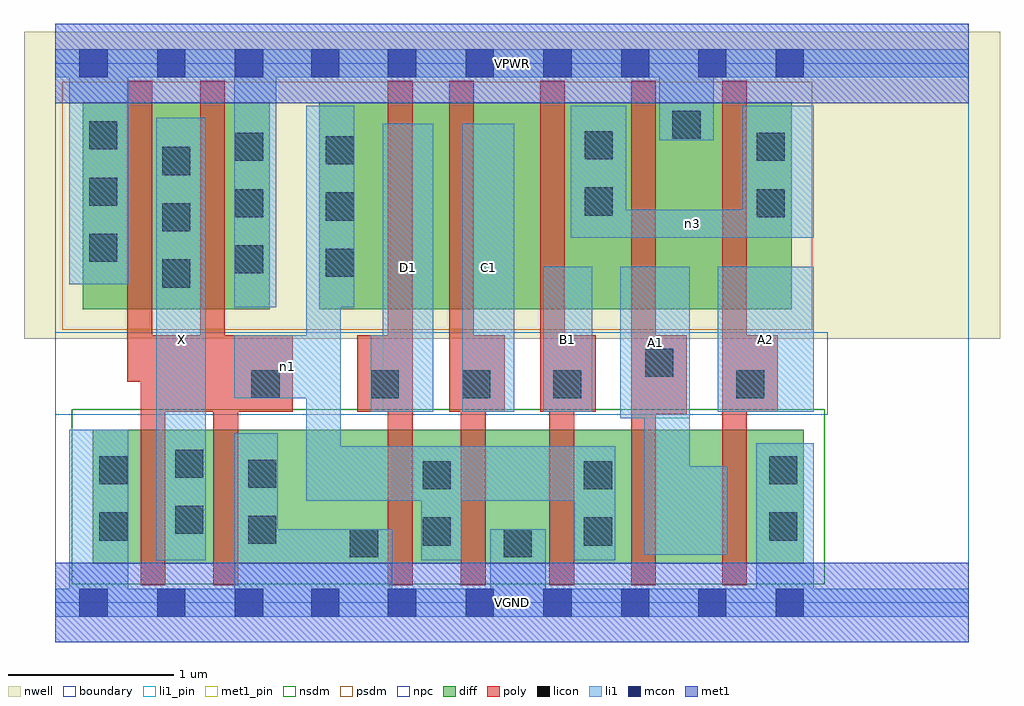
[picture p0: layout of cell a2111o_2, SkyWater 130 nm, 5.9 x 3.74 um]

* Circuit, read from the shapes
.subckt a2111o_2 A1 A2 B1 C1 D1 VGND VPWR X n1 n3
XM1 X n1 VGND VSUBS sky130_fd_pr__nfet_01v8 w=0.81 l=0.15 m=2
XM2 n1 D1 VGND VSUBS sky130_fd_pr__nfet_01v8 w=0.81 l=0.15
XM3 VGND C1 n1 VSUBS sky130_fd_pr__nfet_01v8 w=0.81 l=0.15
XM4 n1 B1 VGND VSUBS sky130_fd_pr__nfet_01v8 w=0.81 l=0.15
XM5 n2 A1 n1 VSUBS sky130_fd_pr__nfet_01v8 w=0.81 l=0.15
XM6 VGND A2 n2 VSUBS sky130_fd_pr__nfet_01v8 w=0.81 l=0.15
XM7 X n1 VPWR n4 sky130_fd_pr__pfet_01v8 w=1.25 l=0.15 m=2
XM8 n5 D1 n1 n4 sky130_fd_pr__pfet_01v8 w=1.25 l=0.15
XM9 n6 C1 n5 n4 sky130_fd_pr__pfet_01v8 w=1.25 l=0.15
XM10 n3 B1 n6 n4 sky130_fd_pr__pfet_01v8 w=1.25 l=0.15
XM11 VPWR A1 n3 n4 sky130_fd_pr__pfet_01v8 w=1.25 l=0.15
XM12 n3 A2 VPWR n4 sky130_fd_pr__pfet_01v8 w=1.25 l=0.15
.ends

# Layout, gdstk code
import gdstk
lib = gdstk.Library(unit=1e-6, precision=1e-09)
def R(c, l, rs):  # rectangles x0, y0, x1, y1
    for r in rs: c.add(gdstk.rectangle(r[:2], r[2:], *l))
def A(c, l, x, y, w, h, nx, ny, dx, dy):  # array of equal rectangles
    R(c, l, [(x+i*dx, y+j*dy, x+i*dx+w, y+j*dy+h) for i in range(nx) for j in range(ny)])
nwell = (64, 20)
diff = (65, 20)
poly = (66, 20)
licon = (66, 44)
li1_pin = (67, 16)
li1 = (67, 20)
mcon = (67, 44)
met1_pin = (68, 16)
met1 = (68, 20)
nsdm = (93, 44)
psdm = (94, 20)
npc = (95, 20)
boundary = (235, 4)

a2111o_2 = lib.new_cell('a2111o_2')
R(a2111o_2, nwell, [(-0.19,1.595,5.71,3.45), (0,1.595,5.52,3.45)])
R(a2111o_2, diff, [(0.225,0.235,4.525,1.045), (0.165,1.775,1.295,3.025), (1.595,1.775,4.45,3.025)])
R(a2111o_2, poly, [(0.515,0.105,0.665,1.615), (0.955,0.105,1.105,1.615), (2.01,0.105,2.16,3.155), (2.45,0.105,2.6,1.615), (2.985,0.105,3.135,1.615), (3.48,0.105,3.63,3.155), (4.03,0.105,4.18,3.155), (3.48,1.14,3.815,1.615), (0.515,1.155,1.435,1.615), (0.875,1.155,1.025,3.155), (1.825,1.155,2.16,1.615), (2.38,1.155,2.53,3.155), (2.38,1.155,2.715,1.615), (2.93,1.155,3.08,3.155), (2.93,1.155,3.265,1.615), (4.03,1.155,4.365,1.615), (0.435,1.335,0.585,3.155)])
A(a2111o_2, licon, 0.645, 1.905, 0.17, 0.17, 1, 3, 0, 0.34)
A(a2111o_2, licon, 1.635, 1.97, 0.17, 0.17, 1, 3, 0, 0.34)
A(a2111o_2, licon, 1.085, 1.99, 0.17, 0.17, 1, 3, 0, 0.34)
A(a2111o_2, licon, 0.205, 2.06, 0.17, 0.17, 1, 3, 0, 0.34)
R(a2111o_2, licon, [(1.78,0.275,1.95,0.445), (2.71,0.275,2.88,0.445), (2.22,0.345,2.39,0.515), (3.195,0.345,3.365,0.515), (1.165,0.355,1.335,0.525), (0.265,0.375,0.435,0.545), (4.315,0.375,4.485,0.545), (0.725,0.415,0.895,0.585), (2.22,0.685,2.39,0.855), (3.195,0.685,3.365,0.855), (1.165,0.695,1.335,0.865), (0.265,0.715,0.435,0.885), (4.315,0.715,4.485,0.885), (0.725,0.755,0.895,0.925), (1.185,1.235,1.355,1.405), (1.905,1.235,2.075,1.405), (2.46,1.235,2.63,1.405), (3.01,1.235,3.18,1.405), (4.115,1.235,4.285,1.405), (3.565,1.365,3.735,1.535), (4.24,2.33,4.41,2.5), (3.2,2.34,3.37,2.51), (4.24,2.67,4.41,2.84), (3.2,2.68,3.37,2.85), (3.73,2.805,3.9,2.975)])
R(a2111o_2, li1_pin, [(0.61,0.255,0.91,2.93), (3.415,1.115,3.835,2.03), (1.98,1.155,2.285,2.895), (2.46,1.155,2.775,2.895), (2.95,1.155,3.245,2.03), (4.005,1.155,4.585,2.03)])
R(a2111o_2, li1, [(0,-0.085,5.52,0.085), (0.085,-0.085,0.44,1.045), (1.08,-0.085,2.035,0.445), (1.08,-0.085,1.345,1.025), (2.63,-0.085,2.965,0.445), (4.235,-0.085,4.585,0.965), (0.61,0.255,0.91,2.93), (2.21,0.255,2.455,0.945), (3.135,0.255,3.385,0.945), (3.56,0.29,3.835,2.03), (3.56,0.29,4.06,0.825), (1.515,0.615,1.725,3.005), (1.515,0.615,3.385,0.945), (3.415,1.115,3.835,2.03), (1.905,1.155,2.285,1.615), (1.98,1.155,2.285,2.895), (2.46,1.155,2.775,2.895), (2.95,1.155,3.245,2.03), (4.005,1.155,4.585,2.03), (1.08,1.235,1.725,1.615), (1.08,1.785,1.335,3.345), (1.515,1.785,1.805,3.005), (0.085,1.925,0.44,3.345), (3.115,2.205,4.585,2.375), (3.115,2.205,3.45,3.005), (4.155,2.205,4.585,3.005), (3.65,2.795,3.98,3.345), (0,3.175,5.52,3.345)])
A(a2111o_2, mcon, 0.145, -0.085, 0.17, 0.17, 3, 2, 0.47, 3.26)
A(a2111o_2, mcon, 2.01, -0.085, 0.17, 0.17, 4, 2, 0.47, 3.26)
R(a2111o_2, mcon, [(1.545,-0.085,1.715,0.085), (3.885,-0.085,4.055,0.085), (4.355,-0.085,4.525,0.085), (1.545,3.175,1.715,3.345), (3.885,3.175,4.055,3.345), (4.355,3.175,4.525,3.345)])
R(a2111o_2, met1_pin, [(0,-0.24,5.52,0.24), (0,3.02,5.52,3.5)])
R(a2111o_2, met1, [(0,-0.24,5.52,0.24), (0,3.02,5.52,3.5)])
R(a2111o_2, nsdm, [(0.1,0.11,4.65,1.17)])
R(a2111o_2, psdm, [(0.04,1.65,4.575,3.15)])
R(a2111o_2, npc, [(0,1.135,4.67,1.635)])
R(a2111o_2, boundary, [(0,0,5.52,3.26)])
a2111o_2.add(gdstk.Label('A1', (3.625,1.572), layer=67, texttype=5))
a2111o_2.add(gdstk.Label('A2', (4.295,1.592), layer=67, texttype=5))
a2111o_2.add(gdstk.Label('B1', (3.097,1.592), layer=67, texttype=5))
a2111o_2.add(gdstk.Label('C1', (2.617,2.025), layer=67, texttype=5))
a2111o_2.add(gdstk.Label('D1', (2.132,2.025), layer=67, texttype=5))
a2111o_2.add(gdstk.Label('X', (0.76,1.592), layer=67, texttype=5))
a2111o_2.add(gdstk.Label('n1', (1.402,1.425), layer=67, texttype=5))
a2111o_2.add(gdstk.Label('n3', (3.85,2.29), layer=67, texttype=5))
a2111o_2.add(gdstk.Label('VPWR', (2.76,3.26), layer=68, texttype=5))
a2111o_2.add(gdstk.Label('VGND', (2.76,0), layer=68, texttype=5))
a2111o_2.add(gdstk.Label('A1', (3.625,1.572), layer=67, texttype=16))
a2111o_2.add(gdstk.Label('A2', (4.295,1.592), layer=67, texttype=16))
a2111o_2.add(gdstk.Label('B1', (3.097,1.592), layer=67, texttype=16))
a2111o_2.add(gdstk.Label('C1', (2.617,2.025), layer=67, texttype=16))
a2111o_2.add(gdstk.Label('D1', (2.132,2.025), layer=67, texttype=16))
a2111o_2.add(gdstk.Label('X', (0.76,1.592), layer=67, texttype=16))
a2111o_2.add(gdstk.Label('VPWR', (2.76,3.26), layer=68, texttype=16))
a2111o_2.add(gdstk.Label('VGND', (2.76,0), layer=68, texttype=16))

lib.write_gds('a2111o_2.gds')
